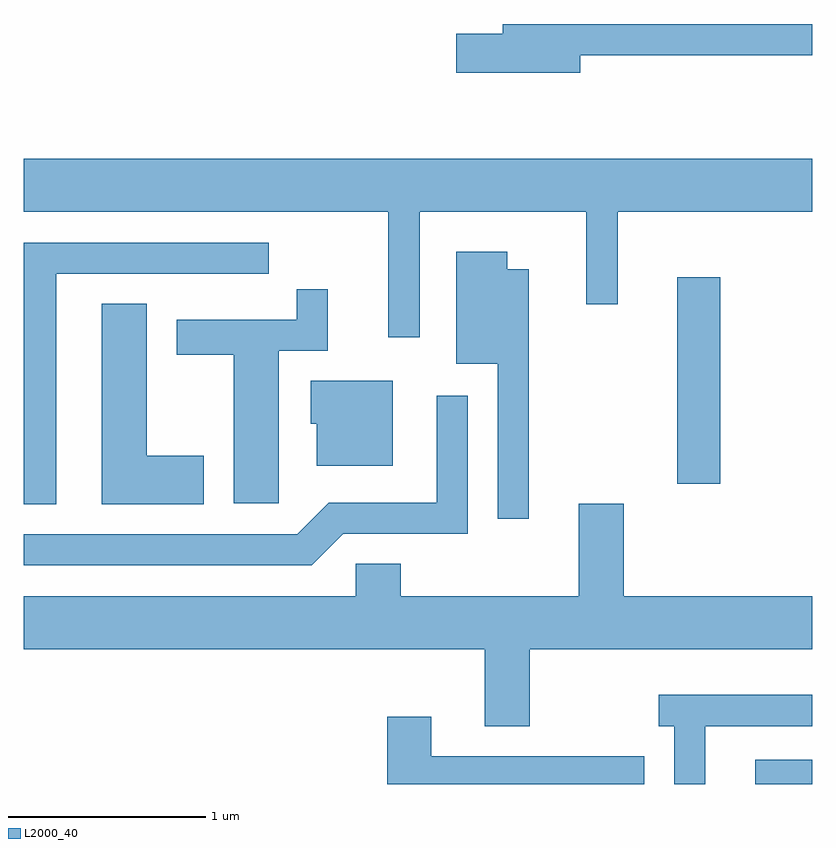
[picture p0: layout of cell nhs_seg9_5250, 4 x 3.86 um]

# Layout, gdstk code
import gdstk
lib = gdstk.Library(unit=1e-6, precision=1e-09)
def R(c, l, rs):  # rectangles x0, y0, x1, y1
    for r in rs: c.add(gdstk.rectangle(r[:2], r[2:], *l))
def P(c, l, *ps):  # polygons
    for p in ps: c.add(gdstk.Polygon(p, *l))
L2000_40 = (2000, 40)

nhs_seg9_5250 = lib.new_cell('nhs_seg9_5250')
R(nhs_seg9_5250, L2000_40, [(343.323,2024.432,343.611,2024.554), (342.926,2025.956,343.144,2027.004)])
P(nhs_seg9_5250, L2000_40, [(342.434,2028.131),(343.611,2028.131),(343.611,2028.289),(342.041,2028.289),(342.041,2028.239),(341.806,2028.239),(341.806,2028.041),(342.434,2028.041)],
  [(341.619,2027.336),(342.466,2027.336),(342.466,2026.868),(342.624,2026.868),(342.624,2027.336),(343.611,2027.336),(343.611,2027.604),(339.611,2027.604),(339.611,2027.336),(341.461,2027.336),(341.461,2026.698),(341.619,2026.698)],
  [(339.774,2027.021),(340.853,2027.021),(340.853,2027.179),(339.611,2027.179),(339.611,2025.851),(339.774,2025.851)],
  [(342.174,2027.044),(342.064,2027.044),(342.064,2027.134),(341.806,2027.134),(341.806,2026.566),(342.016,2026.566),(342.016,2025.778),(342.174,2025.778)],
  [(340.904,2026.631),(341.154,2026.631),(341.154,2026.943),(340.996,2026.943),(340.996,2026.789),(340.386,2026.789),(340.386,2026.611),(340.676,2026.611),(340.676,2025.856),(340.904,2025.856)],
  [(340.524,2026.099),(340.234,2026.099),(340.234,2026.869),(340.006,2026.869),(340.006,2025.851),(340.524,2025.851)],
  [(341.484,2026.479),(341.066,2026.479),(341.066,2026.261),(341.096,2026.261),(341.096,2026.046),(341.484,2026.046)],
  [(341.232,2025.701),(341.864,2025.701),(341.864,2026.403),(341.706,2026.403),(341.706,2025.859),(341.159,2025.859),(340.999,2025.699),(339.611,2025.699),(339.611,2025.541),(341.072,2025.541)],
  [(342.179,2025.116),(343.611,2025.116),(343.611,2025.384),(342.654,2025.384),(342.654,2025.854),(342.426,2025.854),(342.426,2025.384),(341.524,2025.384),(341.524,2025.549),(341.296,2025.549),(341.296,2025.384),(339.611,2025.384),(339.611,2025.116),(341.951,2025.116),(341.951,2024.726),(342.179,2024.726)],
  [(343.069,2024.726),(343.611,2024.726),(343.611,2024.884),(342.833,2024.884),(342.833,2024.726),(342.911,2024.726),(342.911,2024.432),(343.069,2024.432)],
  [(342.759,2024.574),(341.679,2024.574),(341.679,2024.774),(341.456,2024.774),(341.456,2024.432),(342.759,2024.432)])

lib.write_gds('nhs_seg9_5250.gds')
